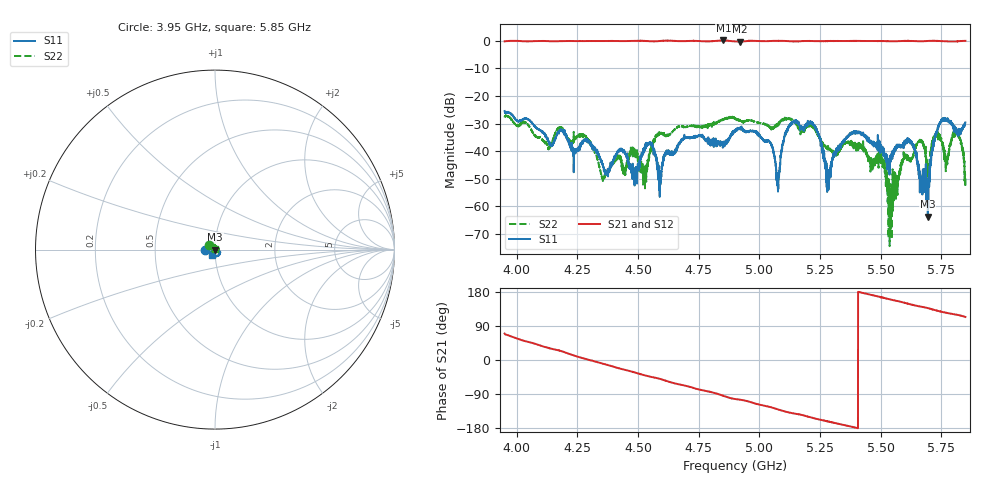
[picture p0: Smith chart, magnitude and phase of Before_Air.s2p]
# GHZ S RI R 50.000000000000
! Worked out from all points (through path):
!   4501 points, 3.95 GHz to 5.85 GHz, reference 50 ohm
!   highest |S21| = 0.18 dB at 4.852 GHz (marker M1); lowest = -0.2 dB at 4.922 GHz (marker M2)
!   group delay of S21, straight-line fit = 454 ps
!   lowest |S11| = -63.8 dB at 5.695 GHz (marker M3), VSWR 1.00, Z = 50.1 + j0.0235 ohm
!   |S11| at or under -10 dB: start of sweep to end of sweep
!   |S22| runs from -74.5 to -27.0 dB; largest |S21 - S12| = 0.059
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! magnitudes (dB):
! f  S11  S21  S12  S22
! 3.95 GHz  -25.4  -0.2  -0.2  -27.8
! 4.267 GHz  -37.4  0.0  -0.1  -34.3
! 4.357 GHz  -45.9  0.0  0.0  -49.7
! 4.549 GHz  -37.2  -0.1  -0.1  -40.9
! 4.584 GHz  -49.6  -0.1  -0.1  -34.3
! 4.69 GHz  -35.4  -0.1  -0.1  -31.0
! 4.852 GHz  -36.5  0.2  0.2  -28.2
! 4.9 GHz  -32.5  -0.2  -0.1  -28.0
! 4.922 GHz  -31.9  -0.2  -0.2  -28.8
! 5.043 GHz  -36.6  0.0  -0.1  -31.1
! 5.077 GHz  -54.7  0.0  0.0  -29.9
! 5.125 GHz  -30.8  -0.1  -0.1  -28.3
! 5.217 GHz  -29.5  0.0  0.0  -31.1
! 5.284 GHz  -52.0  0.0  -0.1  -38.8
! 5.391 GHz  -33.0  0.0  0.0  -38.6
! 5.502 GHz  -38.4  0.0  0.0  -42.6
! 5.534 GHz  -43.5  -0.1  0.0  -54.5
! 5.621 GHz  -36.5  0.0  -0.1  -43.4
! 5.695 GHz  -63.8  0.0  0.0  -48.7
! 5.748 GHz  -29.3  0.0  -0.1  -35.2
! 5.817 GHz  -33.1  -0.2  -0.2  -33.9
! 5.85 GHz  -29.6  0.0  0.1  -49.9
